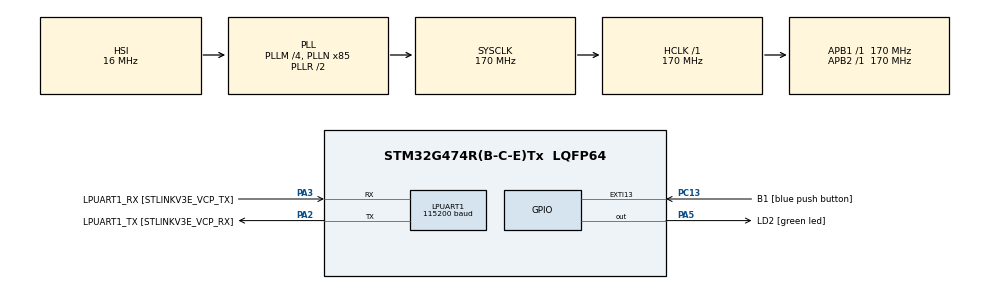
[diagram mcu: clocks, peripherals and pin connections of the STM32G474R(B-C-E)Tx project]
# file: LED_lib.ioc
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LPUART1.BaudRate=115200
LPUART1.WordLength=UART_WORDLENGTH_8B
Mcu.Family=STM32G4
Mcu.Name=STM32G474R(B-C-E)Tx
Mcu.Package=LQFP64
NVIC.EXTI15_10_IRQn=true\:0\:0\:false\:false\:true\:true\:true
NVIC.PriorityGroup=NVIC_PRIORITYGROUP_4
NVIC.TIM6_DAC_IRQn=true\:0\:0\:false\:false\:true\:true\:true
PA13.GPIO_Label=T_SWDIO
PA13.Mode=Serial_Wire
PA13.Signal=SYS_JTMS-SWDIO
PA14.GPIO_Label=T_SWCLK
PA14.Mode=Serial_Wire
PA14.Signal=SYS_JTCK-SWCLK
PA2.GPIO_Label=LPUART1_TX [STLINKV3E_VCP_RX]
PA2.Mode=Asynchronous
PA2.Signal=LPUART1_TX
PA3.GPIO_Label=LPUART1_RX [STLINKV3E_VCP_TX]
PA3.Mode=Asynchronous
PA3.Signal=LPUART1_RX
PA5.GPIO_Label=LD2 [green led]
PA5.Signal=GPIO_Output
PB3.GPIO_Label=T_SWO
PB3.Signal=SYS_JTDO-SWO
PC13.GPIO_Label=B1 [blue push button]
PC13.Signal=GPXTI13
PC14-OSC32_IN.Mode=LSE-External-Oscillator
PC14-OSC32_IN.Signal=RCC_OSC32_IN
PC15-OSC32_OUT.Mode=LSE-External-Oscillator
PC15-OSC32_OUT.Signal=RCC_OSC32_OUT
PF0-OSC_IN.Mode=HSE-External-Oscillator
PF0-OSC_IN.Signal=RCC_OSC_IN
PF1-OSC_OUT.Mode=HSE-External-Oscillator
PF1-OSC_OUT.Signal=RCC_OSC_OUT
ProjectManager.HeapSize=0x200
ProjectManager.StackSize=0x400
ProjectManager.TargetToolchain=STM32CubeIDE
RCC.ADC12Freq_Value=170000000
RCC.ADC345Freq_Value=170000000
RCC.AHBFreq_Value=170000000
RCC.APB1Freq_Value=170000000
RCC.APB1TimFreq_Value=170000000
RCC.APB2Freq_Value=170000000
RCC.APB2TimFreq_Value=170000000
RCC.CortexFreq_Value=170000000
RCC.EXTERNAL_CLOCK_VALUE=12288000
RCC.HCLKFreq_Value=170000000
RCC.HSE_VALUE=24000000
RCC.HSI48_VALUE=48000000
RCC.HSI_VALUE=16000000
RCC.PLLM=RCC_PLLM_DIV4
RCC.PLLN=85
RCC.RTCClockSelection=RCC_RTCCLKSOURCE_LSE
RCC.SYSCLKFreq_VALUE=170000000
RCC.SYSCLKSource=RCC_SYSCLKSOURCE_PLLCLK
RCC.USBFreq_Value=170000000
RCC.VCOOutputFreq_Value=340000000
TIM6.AutoReloadPreload=TIM_AUTORELOAD_PRELOAD_ENABLE
TIM6.PeriodNoDither=Period
TIM6.Prescaler=17000-1
TIM6.TIM_MasterOutputTrigger=TIM_TRGO_UPDATE
VP_SYS_VS_DBSignals.Mode=DisableDeadBatterySignals
VP_TIM6_VS_ClockSourceINT.Mode=Enable_Timer
board=NUCLEO-G474RE

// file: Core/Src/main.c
/* USER CODE BEGIN Header */
/**
  ******************************************************************************
  * @file           : main.c
  * @brief          : Main program body
  ******************************************************************************
  * @attention
  *
  * <h2><center>&copy; Copyright (c) 2022 STMicroelectronics.
  * All rights reserved.</center></h2>
  *
  * This software component is licensed by ST under BSD 3-Clause license,
  * the "License"; You may not use this file except in compliance with the
  * License. You may obtain a copy of the License at:
  *                        opensource.org/licenses/BSD-3-Clause
  *
  ******************************************************************************
  */
/* USER CODE END Header */
#include "main.h"

/* USER CODE BEGIN Includes */
#include "flashlight.h"
#include <stdbool.h>
#include "stdint.h"

/* USER CODE END Includes */

UART_HandleTypeDef hlpuart1;

TIM_HandleTypeDef htim6;

/* USER CODE BEGIN PV */

//global variables
extern volatile uint16_t Period;
extern volatile uint8_t repetitionCounter;
extern volatile uint8_t activeState;
extern volatile uint8_t state;
bool flashlight;

/* USER CODE END PV */

void SystemClock_Config(void);
static void MX_GPIO_Init(void);
static void MX_LPUART1_UART_Init(void);
static void MX_TIM6_Init(void);
/* USER CODE BEGIN PFP */

void turn (bool output);

void load_flash_pattern(uint8_t state);

void init_flashlight(void);

/* USER CODE END PFP */

/* USER CODE BEGIN 0 */

void turn (bool output){
				if (output == ON)
				{
					HAL_GPIO_TogglePin(GPIOA, GPIO_PIN_5);
				}

			}

void load_flash_pattern(uint8_t state){
				Period = flashPattern[state]->flashDuration;
				flashlight = flashPattern[state]->output;
				return;
			}  //Fehlermeldung: undefined reference to 'Period'

void init_flashlight(void){

				  repetitionCounter = 0;
				  //flashlight = OFF;
				  activeState = A;
				  load_flash_pattern(A);
				  turn(flashlight);

			}

/* USER CODE END 0 */

int main(void)
{

  /* MCU Configuration--------------------------------------------------------*/

  /* Reset of all peripherals, Initializes the Flash interface and the Systick. */
  HAL_Init();

  /* USER CODE BEGIN Init */

  init_flashlight();

  /* USER CODE END Init */

  /* Configure the system clock */
  SystemClock_Config();

  /* Initialize all configured peripherals */
  MX_GPIO_Init();
  MX_LPUART1_UART_Init();
  MX_TIM6_Init();

  /* Infinite loop */
  while (1)
  {

  }
}

void SystemClock_Config(void)
{
  RCC_OscInitTypeDef RCC_OscInitStruct = {0};
  RCC_ClkInitTypeDef RCC_ClkInitStruct = {0};
  RCC_PeriphCLKInitTypeDef PeriphClkInit = {0};

  /** Configure the main internal regulator output voltage
  */
  HAL_PWREx_ControlVoltageScaling(PWR_REGULATOR_VOLTAGE_SCALE1_BOOST);
  /** Initializes the RCC Oscillators according to the specified parameters
  * in the RCC_OscInitTypeDef structure.
  */
  RCC_OscInitStruct.OscillatorType = RCC_OSCILLATORTYPE_HSI;
  RCC_OscInitStruct.HSIState = RCC_HSI_ON;
  RCC_OscInitStruct.HSICalibrationValue = RCC_HSICALIBRATION_DEFAULT;
  RCC_OscInitStruct.PLL.PLLState = RCC_PLL_ON;
  RCC_OscInitStruct.PLL.PLLSource = RCC_PLLSOURCE_HSI;
  RCC_OscInitStruct.PLL.PLLM = RCC_PLLM_DIV4;
  RCC_OscInitStruct.PLL.PLLN = 85;
  RCC_OscInitStruct.PLL.PLLP = RCC_PLLP_DIV2;
  RCC_OscInitStruct.PLL.PLLQ = RCC_PLLQ_DIV2;
  RCC_OscInitStruct.PLL.PLLR = RCC_PLLR_DIV2;
  if (HAL_RCC_OscConfig(&RCC_OscInitStruct) != HAL_OK)
  {
    Error_Handler();
  }
  /** Initializes the CPU, AHB and APB buses clocks
  */
  RCC_ClkInitStruct.ClockType = RCC_CLOCKTYPE_HCLK|RCC_CLOCKTYPE_SYSCLK
                              |RCC_CLOCKTYPE_PCLK1|RCC_CLOCKTYPE_PCLK2;
  RCC_ClkInitStruct.SYSCLKSource = RCC_SYSCLKSOURCE_PLLCLK;
  RCC_ClkInitStruct.AHBCLKDivider = RCC_SYSCLK_DIV1;
  RCC_ClkInitStruct.APB1CLKDivider = RCC_HCLK_DIV1;
  RCC_ClkInitStruct.APB2CLKDivider = RCC_HCLK_DIV1;

  if (HAL_RCC_ClockConfig(&RCC_ClkInitStruct, FLASH_LATENCY_4) != HAL_OK)
  {
    Error_Handler();
  }
  /** Initializes the peripherals clocks
  */
  PeriphClkInit.PeriphClockSelection = RCC_PERIPHCLK_LPUART1;
  PeriphClkInit.Lpuart1ClockSelection = RCC_LPUART1CLKSOURCE_PCLK1;
  if (HAL_RCCEx_PeriphCLKConfig(&PeriphClkInit) != HAL_OK)
  {
    Error_Handler();
  }
}

static void MX_LPUART1_UART_Init(void)
{

  hlpuart1.Instance = LPUART1;
  hlpuart1.Init.BaudRate = 115200;
  hlpuart1.Init.WordLength = UART_WORDLENGTH_8B;
  hlpuart1.Init.StopBits = UART_STOPBITS_1;
  hlpuart1.Init.Parity = UART_PARITY_NONE;
  hlpuart1.Init.Mode = UART_MODE_TX_RX;
  hlpuart1.Init.HwFlowCtl = UART_HWCONTROL_NONE;
  hlpuart1.Init.OneBitSampling = UART_ONE_BIT_SAMPLE_DISABLE;
  hlpuart1.Init.ClockPrescaler = UART_PRESCALER_DIV1;
  hlpuart1.AdvancedInit.AdvFeatureInit = UART_ADVFEATURE_NO_INIT;
  if (HAL_UART_Init(&hlpuart1) != HAL_OK)
  {
    Error_Handler();
  }
  if (HAL_UARTEx_SetTxFifoThreshold(&hlpuart1, UART_TXFIFO_THRESHOLD_1_8) != HAL_OK)
  {
    Error_Handler();
  }
  if (HAL_UARTEx_SetRxFifoThreshold(&hlpuart1, UART_RXFIFO_THRESHOLD_1_8) != HAL_OK)
  {
    Error_Handler();
  }
  if (HAL_UARTEx_DisableFifoMode(&hlpuart1) != HAL_OK)
  {
    Error_Handler();
  }

}

static void MX_TIM6_Init(void)
{

  TIM_MasterConfigTypeDef sMasterConfig = {0};

  htim6.Instance = TIM6;
  htim6.Init.Prescaler = 17000-1;
  htim6.Init.CounterMode = TIM_COUNTERMODE_UP;
  htim6.Init.Period = Period;
  htim6.Init.AutoReloadPreload = TIM_AUTORELOAD_PRELOAD_ENABLE;
  if (HAL_TIM_Base_Init(&htim6) != HAL_OK)
  {
    Error_Handler();
  }
  sMasterConfig.MasterOutputTrigger = TIM_TRGO_UPDATE;
  sMasterConfig.MasterSlaveMode = TIM_MASTERSLAVEMODE_DISABLE;
  if (HAL_TIMEx_MasterConfigSynchronization(&htim6, &sMasterConfig) != HAL_OK)
  {
    Error_Handler();
  }
  /* USER CODE BEGIN TIM6_Init 2 */
  //start timer
  HAL_TIM_Base_Start_IT(&htim6);

  /* USER CODE END TIM6_Init 2 */

}

static void MX_GPIO_Init(void)
{
  GPIO_InitTypeDef GPIO_InitStruct = {0};

  /* GPIO Ports Clock Enable */
  __HAL_RCC_GPIOC_CLK_ENABLE();
  __HAL_RCC_GPIOF_CLK_ENABLE();
  __HAL_RCC_GPIOA_CLK_ENABLE();
  __HAL_RCC_GPIOB_CLK_ENABLE();

  /*Configure GPIO pin Output Level */
  HAL_GPIO_WritePin(LD2_GPIO_Port, LD2_Pin, GPIO_PIN_RESET);

  /*Configure GPIO pin : B1_Pin */
  GPIO_InitStruct.Pin = B1_Pin;
  GPIO_InitStruct.Mode = GPIO_MODE_IT_RISING;
  GPIO_InitStruct.Pull = GPIO_NOPULL;
  HAL_GPIO_Init(B1_GPIO_Port, &GPIO_InitStruct);

  /*Configure GPIO pin : LD2_Pin */
  GPIO_InitStruct.Pin = LD2_Pin;
  GPIO_InitStruct.Mode = GPIO_MODE_OUTPUT_PP;
  GPIO_InitStruct.Pull = GPIO_NOPULL;
  GPIO_InitStruct.Speed = GPIO_SPEED_FREQ_LOW;
  HAL_GPIO_Init(LD2_GPIO_Port, &GPIO_InitStruct);

  /* EXTI interrupt init*/
  HAL_NVIC_SetPriority(EXTI15_10_IRQn, 0, 0);
  HAL_NVIC_EnableIRQ(EXTI15_10_IRQn);

}

/* USER CODE BEGIN 4 */

void HAL_TIM_PeriodElapsedCallback(TIM_HandleTypeDef *htim)
{
	//check which version of the timer triggered this callback and toggle LED
	if (htim == &htim6)
	{

		switch(activeState){

				case A:
						if(repetitionCounter > NUMBER_OF_REPETITIONS){
							activeState = C;
							load_flash_pattern(C);
							turn(flashlight);

						}
						else{
							activeState = B;
							load_flash_pattern(B);
							turn(flashlight);
							repetitionCounter++;
						}
						break;

				case B:
						activeState = A;
						load_flash_pattern(A);
						turn(flashlight);
						break;

				case C:
						activeState = A;
						load_flash_pattern(A);
						turn(flashlight);
						repetitionCounter = 0;
						break;
		//HAL_GPIO_TogglePin(GPIOA, GPIO_PIN_5);
	}
}
}
/* USER CODE END 4 */

void Error_Handler(void)
{
  __disable_irq();
  while (1)
  {
  }
}

/************************ (C) COPYRIGHT STMicroelectronics *****END OF FILE****/
